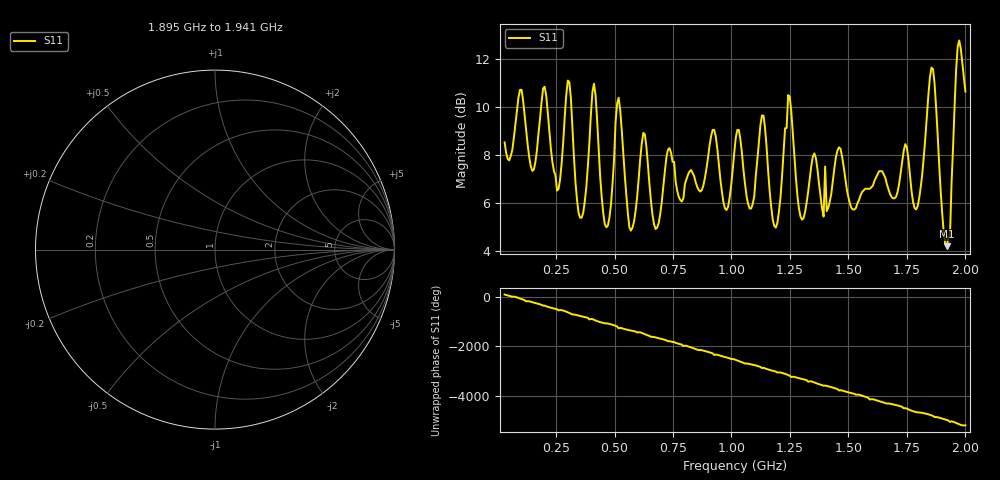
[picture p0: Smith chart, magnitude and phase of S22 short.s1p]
# Hz S DB R 50.000000
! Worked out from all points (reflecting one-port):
!   300 points, 30 MHz to 2 GHz, reference 50 ohm
!   lowest |S11| = 4.2 dB at 1.921 GHz (marker M1)
!   phase of S11 starts at 84 deg and turns -5290 deg over the sweep
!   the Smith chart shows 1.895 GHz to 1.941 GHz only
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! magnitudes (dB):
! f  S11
! 30 MHz  8.5
! 280.4 MHz  8.5
! 306.7 MHz  11.0
! 359.4 MHz  5.4
! 412.1 MHz  11.0
! 464.8 MHz  5.0
! 524.1 MHz  9.9
! 570.3 MHz  4.9
! 623 MHz  8.9
! 675.7 MHz  4.9
! 774.5 MHz  6.3
! 926.1 MHz  9.1
! 978.8 MHz  5.7
! 1.018 GHz  8.7
! 1.084 GHz  5.8
! 1.137 GHz  9.7
! 1.19 GHz  5.0
! 1.242 GHz  10.5
! 1.262 GHz  8.9
! 1.302 GHz  5.3
! 1.46 GHz  8.3
! 1.512 GHz  5.8
! 1.756 GHz  7.9
! 1.796 GHz  5.9
! 1.862 GHz  11.6
! 1.921 GHz  4.2
! 1.967 GHz  12.5
! 2 GHz  10.7
